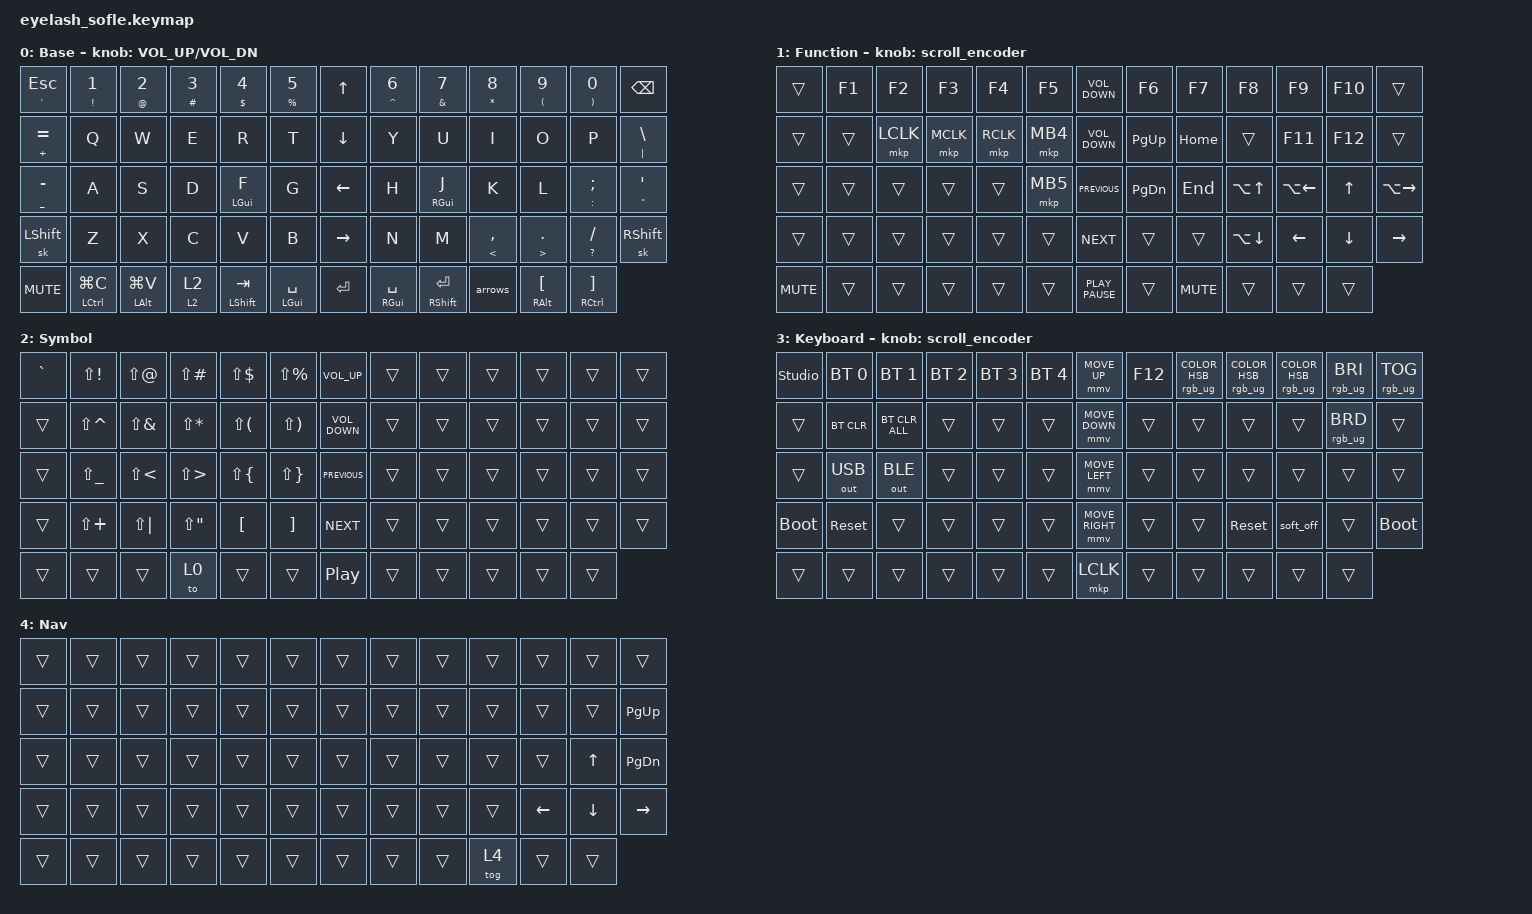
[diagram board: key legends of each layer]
#define ZMK_POINTING_DEFAULT_MOVE_VAL 1200  // 600
#define ZMK_POINTING_DEFAULT_SCRL_VAL 25   // 10

#include <input/processors.dtsi>
#include <zephyr/dt-bindings/input/input-event-codes.h>
#include <behaviors.dtsi>
#include <dt-bindings/zmk/bt.h>
#include <dt-bindings/zmk/keys.h>
#include <dt-bindings/zmk/outputs.h>
#include <dt-bindings/zmk/pointing.h>
#include <dt-bindings/zmk/rgb.h>

&mmv_input_listener { input-processors = <&zip_xy_scaler 2 1>; };

&msc_input_listener { input-processors = <&zip_scroll_scaler 2 1>; };

&msc {
    acceleration-exponent = <1>;      // 0
    time-to-max-speed-ms = <100>;       // 300
    delay-ms = <0>;                   // 0
};

&mmv {
    time-to-max-speed-ms = <500>;
    acceleration-exponent = <1>;
    trigger-period-ms = <16>;
};

/ {
    scroll_encoder: scroll_encoder {
        compatible = "zmk,behavior-sensor-rotate";
        #sensor-binding-cells = <0>;
        bindings = <&msc SCRL_DOWN>, <&msc SCRL_UP>;

        tap-ms = <100>;
    };

    thumb_mod_tap: thumb_mod_tap {
        compatible = "zmk,behavior-hold-tap";
        label = "Thumb Mod Tap";
        bindings = <&kp>, <&kp>;

        #binding-cells = <2>;
        tapping-term-ms = <240>;
        quick-tap-ms = <100>;
        flavor = "balanced";
        hold-while-undecided;
    };

    escape: escape {
        compatible = "zmk,behavior-tap-dance";
        label = "Escape";
        #binding-cells = <0>;
        bindings = <&mt GRAVE ESCAPE>, <&kp LC(C)>;
    };

    thumb_layer_tap: thumb_layer_tap {
        compatible = "zmk,behavior-hold-tap";
        label = "Thumb layer tap";
        bindings = <&sl>, <&kp>;

        #binding-cells = <2>;
        tapping-term-ms = <280>;
        quick-tap-ms = <200>;
        flavor = "balanced";
    };

    left_homerow: left_homerow {
        compatible = "zmk,behavior-hold-tap";
        label = "Left Homerow";
        bindings = <&kp>, <&kp>;

        #binding-cells = <2>;
        tapping-term-ms = <300>;
        quick-tap-ms = <175>;
        require-prior-idle-ms = <200>;
        flavor = "balanced";
        hold-trigger-key-positions = <7 8 9 10 11 12 25 24 23 20 21 22 23 24 25 33 34 35 36 37 38 46 47 48 49 50 51>;
        hold-trigger-on-release;
    };

    right_homerow: right_homerow {
        compatible = "zmk,behavior-hold-tap";
        label = "Right Homerow";
        bindings = <&kp>, <&kp>;

        #binding-cells = <2>;
        tapping-term-ms = <300>;
        quick-tap-ms = <175>;
        require-prior-idle-ms = <200>;
        flavor = "balanced";
        hold-trigger-on-release;
        hold-trigger-key-positions = <0 1 2 4 5 13 14 15 16 17 18 26 27 28 29 30 31 39 40 41 42 43 44 3>;
    };

    tap_caps: tap_caps {
        compatible = "zmk,behavior-tap-dance";
        label = "Tap Caps";
        #binding-cells = <0>;
        bindings = <&sk LEFT_SHIFT>, <&caps_word>;
    };

    idle_modtap: idle_modtap {
        compatible = "zmk,behavior-hold-tap";
        label = "Idle Modtap";
        bindings = <&kp>, <&kp>;

        #binding-cells = <2>;
        tapping-term-ms = <200>;
        quick-tap-ms = <100>;
        require-prior-idle-ms = <300>;
        flavor = "tap-preferred";
    };

    autoshift: autoshift {
        compatible = "zmk,behavior-hold-tap";
        label = "Auto Shift";
        bindings = <&kp>, <&kp>;

        #binding-cells = <2>;
        flavor = "tap-preferred";
        tapping-term-ms = <180>;
        quick-tap-ms = <0>;
    };

    shiftmod: shiftmod {
        compatible = "zmk,behavior-hold-tap";
        label = "Shift mod";
        bindings = <&kp>, <&kp>;

        #binding-cells = <2>;
        tapping-term-ms = <300>;
        quick-tap-ms = <175>;
        hold-while-undecided;
        require-prior-idle-ms = <80>;
    };

    arrows: arrows {
        compatible = "zmk,behavior-tap-dance";
        label = "Arrows";
        #binding-cells = <0>;
        bindings = <&nav_word 4>, <&caps_word>;
    };

    behaviors {
        nav_word: nav_word {
            compatible = "zmk,behavior-auto-layer";
            #binding-cells = <1>;
            continue-list = <LEFT DOWN UP RIGHT PG_DN PG_UP HOME END BACKSPACE>;
            ignore-modifiers;
        };

        tap_hold_layer: tap_hold_layer {
            compatible = "zmk,behavior-hold-tap";
            label = "Tap hold layer";
            bindings = <&mo>, <&to>;

            #binding-cells = <2>;
            tapping-term-ms = <200>;
            hold-while-undecided-linger;
        };

        spacedance: spacedance {
            compatible = "zmk,behavior-tap-dance";
            label = "Space dance";
            #binding-cells = <0>;
            bindings = <&idle_modtap LEFT_GUI SPACE>, <&sk LEFT_SHIFT>;

            tapping-term-ms = <135>;
        };
    };

    combos {
        compatible = "zmk,combos";

        doublefunc {
            bindings = <&tog 3>;
            key-positions = <55 61>;
        };

        capsword {
            bindings = <&caps_word>;
            key-positions = <57 59>;
        };

        delete {
            bindings = <&kp DELETE>;
            key-positions = <11 12>;
        };

        rightarrow {
            bindings = <&kp RIGHT>;
            key-positions = <62 63>;
        };

        leftarrow {
            bindings = <&kp LEFT>;
            key-positions = <53 54>;
        };

        ctrlc {
            bindings = <&kp LC(C)>;
            key-positions = <0 1>;
        };

        undo {
            bindings = <&kp LG(Z)>;
            key-positions = <39 40>;
        };

        alttab {
            bindings = <&kp RG(TAB)>;
            key-positions = <50 51>;
        };

        leftfunc {
            bindings = <&mo 3>;
            key-positions = <55 56>;
        };

        rightfunc {
            bindings = <&mo 3>;
            key-positions = <61 60>;
        };

        cut {
            bindings = <&kp LG(X)>;
            key-positions = <53 55>;
        };

        uparrowalt {
            bindings = <&kp UP_ARROW>;
            key-positions = <54 55>;
        };

        downarrow {
            bindings = <&kp DOWN>;
            key-positions = <61 62>;
        };
    };

    keymap {
        compatible = "zmk,keymap";

        Base {
            bindings = <
&autoshift GRAVE ESCAPE  &autoshift EXCLAMATION N1   &autoshift AT N2               &autoshift HASH N3   &autoshift DOLLAR N4          &autoshift PERCENT N5          &kp UP_ARROW     &autoshift CARET N6           &autoshift AMPS N7                 &autoshift ASTERISK N8      &autoshift LEFT_PARENTHESIS N9         &autoshift RIGHT_PARENTHESIS N0             &kp BACKSPACE
&autoshift PLUS EQUAL    &kp Q                       &kp W                          &kp E                &kp R                         &kp T                          &kp DOWN_ARROW   &kp Y                         &kp U                              &kp I                       &kp O                                  &kp P                                       &autoshift PIPE BACKSLASH
&autoshift UNDER MINUS   &kp A                       &kp S                          &kp D                &left_homerow LEFT_GUI F      &kp G                          &kp LEFT_ARROW   &kp H                         &right_homerow RIGHT_GUI J         &kp K                       &kp L                                  &autoshift COLON SEMI                       &autoshift DOUBLE_QUOTES APOS
&sk LEFT_SHIFT           &kp Z                       &kp X                          &kp C                &kp V                         &kp B                          &kp RIGHT_ARROW  &kp N                         &kp M                              &autoshift LESS_THAN COMMA  &autoshift GREATER_THAN DOT            &autoshift QUESTION FSLH                    &sk RIGHT_SHIFT
&kp C_MUTE               &thumb_mod_tap LCTRL LG(C)  &thumb_mod_tap LEFT_ALT LG(V)  &tap_hold_layer 2 2  &left_homerow LEFT_SHIFT TAB  &idle_modtap LEFT_GUI SPACE    &kp ENTER        &idle_modtap RIGHT_GUI SPACE  &right_homerow RIGHT_SHIFT RETURN  &arrows                     &thumb_mod_tap RIGHT_ALT LEFT_BRACKET  &thumb_mod_tap RIGHT_CONTROL RIGHT_BRACKET
            >;

            sensor-bindings = <&inc_dec_kp C_VOLUME_UP C_VOL_DN>;
            display-name = "Base";
        };

        Function {
            bindings = <
&trans      &kp F1  &kp F2     &kp F3     &kp F4     &kp F5      &kp K_VOLUME_DOWN  &kp F6     &kp F7      &kp F8              &kp F9              &kp F10         &trans
&trans      &trans  &mkp LCLK  &mkp MCLK  &mkp RCLK  &mkp MB4    &kp K_VOLUME_DOWN  &kp PG_UP  &kp HOME    &trans              &kp F11             &kp F12         &trans
&trans      &trans  &trans     &trans     &trans     &mkp MB5    &kp K_PREVIOUS     &kp PG_DN  &kp END     &kp LA(UP_ARROW)    &kp LA(LEFT_ARROW)  &kp UP_ARROW    &kp LA(RIGHT_ARROW)
&trans      &trans  &trans     &trans     &trans     &trans      &kp K_NEXT         &trans     &trans      &kp LA(DOWN_ARROW)  &kp LEFT_ARROW      &kp DOWN_ARROW  &kp RIGHT
&kp C_MUTE  &trans  &trans     &trans     &trans     &trans      &kp K_PLAY_PAUSE   &trans     &kp K_MUTE  &trans              &trans              &trans
            >;

            display-name = "Function";
            sensor-bindings = <&scroll_encoder>;
        };

        Symbol {
            bindings = <
&kp GRAVE  &kp LS(EXCL)   &kp LS(AT)    &kp LS(POUND)  &kp LS(DLLR)  &kp LS(PRCNT)    &kp C_VOLUME_UP    &trans  &trans  &trans  &trans  &trans  &trans
&trans     &kp LS(CARET)  &kp LS(AMPS)  &kp LS(STAR)   &kp LS(LPAR)  &kp LS(RPAR)     &kp C_VOLUME_DOWN  &trans  &trans  &trans  &trans  &trans  &trans
&trans     &kp LS(UNDER)  &kp LS(LT)    &kp LS(GT)     &kp LS(LBRC)  &kp LS(RBRC)     &kp C_PREVIOUS     &trans  &trans  &trans  &trans  &trans  &trans
&trans     &kp LS(PLUS)   &kp LS(PIPE)  &kp LS(DQT)    &kp LBKT      &kp RBKT         &kp C_NEXT         &trans  &trans  &trans  &trans  &trans  &trans
&trans     &trans         &trans        &to 0          &trans        &trans           &kp C_PLAY_PAUSE   &trans  &trans  &trans  &trans  &trans
            >;

            label = "Symbol";
        };

        Keyboard {
            bindings = <
&studio_unlock  &bt BT_SEL 0  &bt BT_SEL 1    &bt BT_SEL 2  &bt BT_SEL 3  &bt BT_SEL 4    &mmv MOVE_UP     &kp F12  &rgb_ug RGB_COLOR_HSB(0,90,46)  &rgb_ug RGB_COLOR_HSB(36,83,61)  &rgb_ug RGB_COLOR_HSB(0,0,100)  &rgb_ug RGB_BRI  &rgb_ug RGB_TOG
&trans          &bt BT_CLR    &bt BT_CLR_ALL  &trans        &trans        &trans          &mmv MOVE_DOWN   &trans   &trans                          &trans                           &trans                          &rgb_ug RGB_BRD  &trans
&trans          &out OUT_USB  &out OUT_BLE    &trans        &trans        &trans          &mmv MOVE_LEFT   &trans   &trans                          &trans                           &trans                          &trans           &trans
&bootloader     &sys_reset    &trans          &trans        &trans        &trans          &mmv MOVE_RIGHT  &trans   &trans                          &sys_reset                       &soft_off                       &trans           &bootloader
&trans          &trans        &trans          &trans        &trans        &trans          &mkp LCLK        &trans   &trans                          &trans                           &trans                          &trans
            >;

            sensor-bindings = <&scroll_encoder>;
            label = " Keyboard";
        };

        Nav {
            bindings = <
&trans  &trans  &trans  &trans  &trans  &trans    &trans  &trans  &trans  &trans  &trans    &trans        &trans
&trans  &trans  &trans  &trans  &trans  &trans    &trans  &trans  &trans  &trans  &trans    &trans        &kp PG_UP
&trans  &trans  &trans  &trans  &trans  &trans    &trans  &trans  &trans  &trans  &trans    &kp UP_ARROW  &kp PG_DN
&trans  &trans  &trans  &trans  &trans  &trans    &trans  &trans  &trans  &trans  &kp LEFT  &kp DOWN      &kp RIGHT
&trans  &trans  &trans  &trans  &trans  &trans    &trans  &trans  &trans  &tog 4  &trans    &trans
            >;

            label = "Nav";
        };
    };
};
